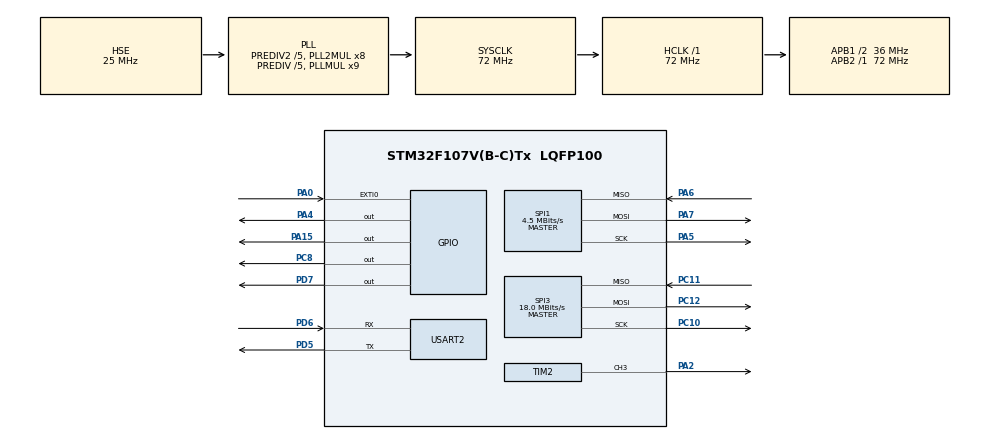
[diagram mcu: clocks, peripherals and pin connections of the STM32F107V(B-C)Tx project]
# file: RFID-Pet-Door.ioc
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Mcu.Family=STM32F1
Mcu.Name=STM32F107V(B-C)Tx
Mcu.Package=LQFP100
NVIC.EXTI0_IRQn=true\:2\:0\:true\:false\:true
NVIC.PriorityGroup=NVIC_PRIORITYGROUP_4
NVIC.TIM1_UP_IRQn=true\:1\:0\:true\:false\:true
OSC_IN.Mode=HSE-External-Oscillator
OSC_IN.Signal=RCC_OSC_IN
OSC_OUT.Mode=HSE-External-Oscillator
OSC_OUT.Signal=RCC_OSC_OUT
PA0-WKUP.GPIO_PuPd=GPIO_PULLDOWN
PA0-WKUP.Signal=GPXTI0
PA15.Signal=GPIO_Output
PA2.GPIO_Speed=GPIO_SPEED_FREQ_HIGH
PA2.Signal=S_TIM2_CH3
PA4.Signal=GPIO_Output
PA5.Mode=Full_Duplex_Master
PA5.Signal=SPI1_SCK
PA6.Mode=Full_Duplex_Master
PA6.Signal=SPI1_MISO
PA7.Mode=Full_Duplex_Master
PA7.Signal=SPI1_MOSI
PC10.Mode=Full_Duplex_Master
PC10.Signal=SPI3_SCK
PC11.Mode=Full_Duplex_Master
PC11.Signal=SPI3_MISO
PC12.Mode=Full_Duplex_Master
PC12.Signal=SPI3_MOSI
PC8.Signal=GPIO_Output
PD5.Mode=Asynchronous
PD5.Signal=USART2_TX
PD6.Mode=Asynchronous
PD6.Signal=USART2_RX
PD7.Signal=GPIO_Output
ProjectManager.HeapSize=0x200
ProjectManager.StackSize=0x400
ProjectManager.TargetToolchain=MDK-ARM V5
RCC.AHBFreq_Value=72000000
RCC.APB1CLKDivider=RCC_HCLK_DIV2
RCC.APB1Freq_Value=36000000
RCC.APB1TimFreq_Value=72000000
RCC.APB2Freq_Value=72000000
RCC.APB2TimFreq_Value=72000000
RCC.HCLKFreq_Value=72000000
RCC.HSEDivPLL=RCC_HSE_PREDIV_DIV5
RCC.HSE_VALUE=25000000
RCC.HSIState=RCC_HSI_ON
RCC.PLLMUL=RCC_PLL_MUL9
RCC.PLLSourceVirtual=RCC_PLLSOURCE_HSE
RCC.Prediv1Source=RCC_PREDIV1_SOURCE_PLL2
RCC.Prediv2=RCC_HSE_PREDIV2_DIV5
RCC.SYSCLKFreq_VALUE=72000000
RCC.SYSCLKSource=RCC_SYSCLKSOURCE_PLLCLK
RCC.USBFreq_Value=48000000
SH.S_TIM2_CH3.0=TIM2_CH3,PWM Generation3 CH3
SPI1.BaudRatePrescaler=SPI_BAUDRATEPRESCALER_16
SPI1.CalculateBaudRate=4.5 MBits/s
SPI1.Mode=SPI_MODE_MASTER
SPI3.CalculateBaudRate=18.0 MBits/s
SPI3.Mode=SPI_MODE_MASTER
TIM1.Period=(1000-1)*4
TIM1.Prescaler=(72-1)*250
TIM2.Channel-PWM\ Generation3\ CH3=TIM_CHANNEL_3
TIM2.Period=1000-1
TIM2.Prescaler=(72-1)*20
TIM2.Pulse-PWM\ Generation3\ CH3=(1000-1)/2
VP_SYS_VS_ND.Mode=No_Debug
VP_TIM1_VS_ClockSourceINT.Mode=Internal
VP_TIM2_VS_ClockSourceINT.Mode=Internal
board=RFID-Pet-Door

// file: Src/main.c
/**
  ******************************************************************************
  * File Name          : main.c
  * Description        : Main program body
  ******************************************************************************
  *
  * COPYRIGHT(c) 2018 STMicroelectronics
  *
  * Redistribution and use in source and binary forms, with or without modification,
  * are permitted provided that the following conditions are met:
  *   1. Redistributions of source code must retain the above copyright notice,
  *      this list of conditions and the following disclaimer.
  *   2. Redistributions in binary form must reproduce the above copyright notice,
  *      this list of conditions and the following disclaimer in the documentation
  *      and/or other materials provided with the distribution.
  *   3. Neither the name of STMicroelectronics nor the names of its contributors
  *      may be used to endorse or promote products derived from this software
  *      without specific prior written permission.
  *
  * THIS SOFTWARE IS PROVIDED BY THE COPYRIGHT HOLDERS AND CONTRIBUTORS "AS IS"
  * AND ANY EXPRESS OR IMPLIED WARRANTIES, INCLUDING, BUT NOT LIMITED TO, THE
  * IMPLIED WARRANTIES OF MERCHANTABILITY AND FITNESS FOR A PARTICULAR PURPOSE ARE
  * DISCLAIMED. IN NO EVENT SHALL THE COPYRIGHT HOLDER OR CONTRIBUTORS BE LIABLE
  * FOR ANY DIRECT, INDIRECT, INCIDENTAL, SPECIAL, EXEMPLARY, OR CONSEQUENTIAL
  * DAMAGES (INCLUDING, BUT NOT LIMITED TO, PROCUREMENT OF SUBSTITUTE GOODS OR
  * SERVICES; LOSS OF USE, DATA, OR PROFITS; OR BUSINESS INTERRUPTION) HOWEVER
  * CAUSED AND ON ANY THEORY OF LIABILITY, WHETHER IN CONTRACT, STRICT LIABILITY,
  * OR TORT (INCLUDING NEGLIGENCE OR OTHERWISE) ARISING IN ANY WAY OUT OF THE USE
  * OF THIS SOFTWARE, EVEN IF ADVISED OF THE POSSIBILITY OF SUCH DAMAGE.
  *
  ******************************************************************************
  */
#include "main.h"
#include "stm32f1xx_hal.h"

/* USER CODE BEGIN Includes */
#include "rc522.h"
#include "et_stm32f_arm_kit_lcd.h"
#include <string.h>
/* USER CODE END Includes */

SPI_HandleTypeDef hspi1;
SPI_HandleTypeDef hspi3;

TIM_HandleTypeDef htim1;
TIM_HandleTypeDef htim2;

UART_HandleTypeDef huart2;

/* USER CODE BEGIN PV */
/* Private variables ---------------------------------------------------------*/
#define White 0xFFFF
#define Black 0x0000
#define Grey 0xF7DE
#define Blue 0x001F
#define Blue2 0x051F
#define Red 0xF800
#define Magenta 0xF81F
#define Green 0x07E0
#define Cyan 0x7FFF
#define Yellow 0xFFE0

uint8_t 	k;
uint8_t 	i;
uint8_t 	j;
uint8_t 	b;
uint8_t 	q;
uint8_t 	en;
uint8_t 	ok;
uint8_t 	comand;
uint8_t		text1[63] = "STM32F103 Mifare RC522 RFID Card reader 13.56 MHz for KEIL HAL\r";
uint8_t		text2[9] = "Card ID: ";
uint8_t		end[1] = "\r";
uint8_t		txBuffer[18] = "Card ID: 00000000\r";
uint8_t 	retstr[10];
uint8_t 	rxBuffer[8];
uint8_t		lastID[MFRC522_MAX_LEN];
uint8_t		memID[MFRC522_MAX_LEN] = "9C55A1B5";
uint8_t		str[MFRC522_MAX_LEN];																						// MFRC522_MAX_LEN = 16
uint8_t		accountID[2][MFRC522_MAX_LEN] = {{0xB,0xC,0xE,0xB,0x4,0xA,0x9},{0xE,0x6,0xA,0x1,0x0,0x5,0x9,0x4}};
//uint8_t		accountID[10][MFRC522_MAX_LEN] = {"E6A10594","B7CEB4A9"};
uint8_t 	numberAccount = 0;
uint8_t isRepeatID = 0;
uint8_t isOpening = 0;

uint32_t time_counter = 0;
uint32_t last_open = 0;
uint8_t status_dog = 0;
/* USER CODE END PV */

void SystemClock_Config(void);
void Error_Handler(void);
static void MX_GPIO_Init(void);
static void MX_USART2_UART_Init(void);
static void MX_TIM2_Init(void);
static void MX_SPI1_Init(void);
static void MX_SPI3_Init(void);
static void MX_TIM1_Init(void);

void HAL_TIM_MspPostInit(TIM_HandleTypeDef *htim);

/* USER CODE BEGIN PFP */
/* Private function prototypes -----------------------------------------------*/

// RC522
uint8_t MFRC522_Check(uint8_t* id);
uint8_t MFRC522_Compare(uint8_t* CardID, uint8_t* CompareID);
void MFRC522_WriteRegister(uint8_t addr, uint8_t val);
uint8_t MFRC522_ReadRegister(uint8_t addr);
void MFRC522_SetBitMask(uint8_t reg, uint8_t mask);
void MFRC522_ClearBitMask(uint8_t reg, uint8_t mask);
uint8_t MFRC522_Request(uint8_t reqMode, uint8_t* TagType);
uint8_t MFRC522_ToCard(uint8_t command, uint8_t* sendData, uint8_t sendLen, uint8_t* backData, uint16_t* backLen);
uint8_t MFRC522_Anticoll(uint8_t* serNum);
void MFRC522_CalulateCRC(uint8_t* pIndata, uint8_t len, uint8_t* pOutData);
uint8_t MFRC522_SelectTag(uint8_t* serNum);
uint8_t MFRC522_Auth(uint8_t authMode, uint8_t BlockAddr, uint8_t* Sectorkey, uint8_t* serNum);
uint8_t MFRC522_Read(uint8_t blockAddr, uint8_t* recvData);
uint8_t MFRC522_Write(uint8_t blockAddr, uint8_t* writeData);
void MFRC522_Init(void);
void MFRC522_Reset(void);
void MFRC522_AntennaOn(void);
void MFRC522_AntennaOff(void);
void MFRC522_Halt(void);
/* USER CODE END PFP */

/* USER CODE BEGIN 0 */

// string hex to char number
uint8_t hex_to_char(uint8_t data) {
	uint8_t number;

	if (rxBuffer[data] < 58) number = (rxBuffer[data]-48)*16; else number = (rxBuffer[data]-55)*16;
	data++;
	if (rxBuffer[data] < 58) number = number+(rxBuffer[data]-48); else number = number+(rxBuffer[data]-55);
	return number;
}

// char number to string hex (FF) (Only big letters!)
void char_to_hex(uint8_t data) {
	uint8_t digits[] = {'0','1','2','3','4','5','6','7','8','9','A','B','C','D','E','F'};

	if (data < 16) {
		retstr[0] = '0';
		retstr[1] = digits[data];
	} else {
		retstr[0] = digits[(data & 0xF0)>>4];
		retstr[1] = digits[(data & 0x0F)];
	}
}

// Number to string (16 bit)
void StrTo() {
	uint32_t	number;
	uint32_t 	ret;

	number = 0;
	ret = 0;
	ret = retstr[0]-0x30;
	number = ret*1000000;
	ret = retstr[1]-0x30;
	number = number+ret*100000;
	ret = retstr[2]-0x30;
	number = number+ret*10000;
	ret = retstr[3]-0x30;
	number = number+ret*1000;
	ret = retstr[4]-0x30;
	number = number+ret*100;
	ret = retstr[5]-0x30;
	number = number+ret*10;
	ret = retstr[6]-0x30;
	number = number+ret;
}

// String to number (32 bit)
void ToStr(uint32_t number) {
	uint32_t i;

	i = number/1000000000;
	number = number-i*1000000000;
	retstr[0] = i+0x30;

	i=number/100000000;
	number=number-i*100000000;
	retstr[1] = i+0x30;

	i = number/10000000;
	number = number-i*10000000;
	retstr[2] = i+0x30;

	i = number/1000000;
	number = number-i*1000000;
	retstr[3] = i+0x30;

	i = number/100000;
	number = number-i*100000;
	retstr[4] = i+0x30;

	i = number/10000;
	number = number-i*10000;
	retstr[5] = i+0x30;

	i = number/1000;
	number = number-i*1000;
	retstr[6] = i+0x30;

	i = number/100;
	number = number-i*100;
	retstr[7] = i+0x30;

	i = number/10;
	number = number-i*10;
	retstr[8] = i+0x30;

	retstr[9] = number+0x30;
}

void led(uint8_t n) {
	for (uint8_t i=0; i<n; i++) {
		HAL_GPIO_WritePin(GPIOC, GPIO_PIN_13, GPIO_PIN_RESET);			          // LED1 ON
		HAL_Delay(100);
		HAL_GPIO_WritePin(GPIOC, GPIO_PIN_13, GPIO_PIN_SET);				          // LED1 OFF
		HAL_Delay(100);
	}
}

uint8_t checkRepeatID(){
	int isRepeat = 1;
	for (i=0; i<MFRC522_MAX_LEN; i++) if (lastID[i] != str[i]) isRepeat = 0;								// Repeat test
	return isRepeat;
}

void saveLastID(){
	for(i=0;i<MFRC522_MAX_LEN;i++){
		lastID[i]=str[i];
	}
}

//turn on buzzer
void alertOn(){
	HAL_GPIO_WritePin(GPIOA, GPIO_PIN_15, GPIO_PIN_RESET);
	HAL_Delay(300);
	HAL_GPIO_WritePin(GPIOA, GPIO_PIN_15, GPIO_PIN_SET);
}

void openDoor(){
	last_open = time_counter;
	status_dog = !status_dog;

	alertOn();			//alert user once
	float closeDoorDutyCycle = 1.95/20;		//duty cycle for servo
	float openDoorDutyCycle = 1.0/20;

	htim2.Instance->CCR3 = (1000-1)*openDoorDutyCycle;	//setting open door duty cylce
	HAL_TIM_PWM_Start(&htim2,TIM_CHANNEL_3);						//start generate pwm
	HAL_Delay(5000);																		//delay opening
	htim2.Instance->CCR3 = (1000-1)*closeDoorDutyCycle;	//setting close door duty cycle

	//
}

void displayLastOpen(){
	char time_str[32];
	sprintf(time_str,"%02d:%02d:%02d",(time_counter - last_open)/3600,(time_counter - last_open)/60,(time_counter - last_open)%60);
	LCD_DisplayStringLine(Line3,"Last opening at ");
	LCD_DisplayStringLine(Line4,time_str);
	char status_text[16];

	if(status_dog)
	{
		LCD_DisplayStringLine(Line1,"Doggy is here!");}
	else{
		LCD_DisplayStringLine(Line1,"Where is doggy");}
}
void addDog(){
	for(i = 0;i<3;i++){
		alertOn();
	}

	for(i=0;i<MFRC522_MAX_LEN;i++){
		accountID[numberAccount][i] = str[i];
	}
	numberAccount++;
}
uint8_t authenicate(){
	uint8_t isPass = 1;
	for(i = 0;i<2;i++){
		isPass = 1;
		for(j = 0; j < MFRC522_MAX_LEN ; j++ ){
			if(accountID[i][j] != str[j] )
				isPass = 0;
		}
		if(isPass == 1){
			//return isPass;
		}
	}
	isPass = 1;
	for(j = 0; j < MFRC522_MAX_LEN ; j++ ){
			if(accountID[0][j] != str[j] )
				isPass = 0;
		}
	return 1;
}
/* USER CODE END 0 */

int main(void)
{

  /* MCU Configuration----------------------------------------------------------*/

  /* Reset of all peripherals, Initializes the Flash interface and the Systick. */
  HAL_Init();

  /* Configure the system clock */
  SystemClock_Config();

  /* Initialize all configured peripherals */
  MX_GPIO_Init();
  MX_USART2_UART_Init();
  MX_TIM2_Init();
  MX_SPI1_Init();
  MX_SPI3_Init();
  MX_TIM1_Init();

  /* USER CODE BEGIN 2 */

	MFRC522_Init();
	LCD_Setup();
	HAL_TIM_Base_Start_IT(&htim1);		//initilize open door timer

	HAL_UART_Transmit(&huart2, text1, 63, 100);
	HAL_UART_Receive_IT(&huart2,(uint8_t*)rxBuffer, 1);
	openDoor();
	//LCD_Clear(White);
	LCD_SetBackColor(Black);
	LCD_SetTextColor(White);

	char time_string[16];
  /* USER CODE END 2 */

  /* Infinite loop */
  while (1)
  {

  /* USER CODE BEGIN 3 */
		MFRC522_Init();					//initilize rfid reader
		if (!MFRC522_Request(PICC_REQIDL, str)) {			//sending reading rfid tag request to rfid tag
			if (!MFRC522_Anticoll(str)) {								//check collision between signal

				isRepeatID = checkRepeatID();							//check last rfid tag

				//if(!isRepeatID)
			//	{HAL_UART_Transmit(&huart2,str,MFRC522_MAX_LEN,100);openDoor();}

				openDoor();																//open door

				saveLastID();															//save id

			}
		HAL_UART_Transmit(&huart2,str,MFRC522_MAX_LEN,100);			//logging uid of tag
		}
		sprintf(time_string,"\r\n%d",time_counter);
		HAL_UART_Transmit(&huart2,(uint8_t*)time_string,strlen(time_string),100);

		HAL_Delay(10);
  }
  /* USER CODE END 3 */

}

/** System Clock Configuration
*/
void SystemClock_Config(void)
{

  RCC_OscInitTypeDef RCC_OscInitStruct;
  RCC_ClkInitTypeDef RCC_ClkInitStruct;

    /**Initializes the CPU, AHB and APB busses clocks
    */
  RCC_OscInitStruct.OscillatorType = RCC_OSCILLATORTYPE_HSE;
  RCC_OscInitStruct.HSEState = RCC_HSE_ON;
  RCC_OscInitStruct.HSEPredivValue = RCC_HSE_PREDIV_DIV5;
  RCC_OscInitStruct.HSIState = RCC_HSI_ON;
  RCC_OscInitStruct.Prediv1Source = RCC_PREDIV1_SOURCE_PLL2;
  RCC_OscInitStruct.PLL.PLLState = RCC_PLL_ON;
  RCC_OscInitStruct.PLL.PLLSource = RCC_PLLSOURCE_HSE;
  RCC_OscInitStruct.PLL.PLLMUL = RCC_PLL_MUL9;
  RCC_OscInitStruct.PLL2.PLL2State = RCC_PLL2_ON;
  RCC_OscInitStruct.PLL2.PLL2MUL = RCC_PLL2_MUL8;
  RCC_OscInitStruct.PLL2.HSEPrediv2Value = RCC_HSE_PREDIV2_DIV5;
  if (HAL_RCC_OscConfig(&RCC_OscInitStruct) != HAL_OK)
  {
    Error_Handler();
  }

    /**Initializes the CPU, AHB and APB busses clocks
    */
  RCC_ClkInitStruct.ClockType = RCC_CLOCKTYPE_HCLK|RCC_CLOCKTYPE_SYSCLK
                              |RCC_CLOCKTYPE_PCLK1|RCC_CLOCKTYPE_PCLK2;
  RCC_ClkInitStruct.SYSCLKSource = RCC_SYSCLKSOURCE_PLLCLK;
  RCC_ClkInitStruct.AHBCLKDivider = RCC_SYSCLK_DIV1;
  RCC_ClkInitStruct.APB1CLKDivider = RCC_HCLK_DIV2;
  RCC_ClkInitStruct.APB2CLKDivider = RCC_HCLK_DIV1;

  if (HAL_RCC_ClockConfig(&RCC_ClkInitStruct, FLASH_LATENCY_2) != HAL_OK)
  {
    Error_Handler();
  }

    /**Configure the Systick interrupt time
    */
  HAL_SYSTICK_Config(HAL_RCC_GetHCLKFreq()/1000);

    /**Configure the Systick
    */
  HAL_SYSTICK_CLKSourceConfig(SYSTICK_CLKSOURCE_HCLK);

    /**Configure the Systick interrupt time
    */
  __HAL_RCC_PLLI2S_ENABLE();

  /* SysTick_IRQn interrupt configuration */
  HAL_NVIC_SetPriority(SysTick_IRQn, 0, 0);
}

/* SPI1 init function */
static void MX_SPI1_Init(void)
{

  hspi1.Instance = SPI1;
  hspi1.Init.Mode = SPI_MODE_MASTER;
  hspi1.Init.Direction = SPI_DIRECTION_2LINES;
  hspi1.Init.DataSize = SPI_DATASIZE_8BIT;
  hspi1.Init.CLKPolarity = SPI_POLARITY_LOW;
  hspi1.Init.CLKPhase = SPI_PHASE_1EDGE;
  hspi1.Init.NSS = SPI_NSS_SOFT;
  hspi1.Init.BaudRatePrescaler = SPI_BAUDRATEPRESCALER_16;
  hspi1.Init.FirstBit = SPI_FIRSTBIT_MSB;
  hspi1.Init.TIMode = SPI_TIMODE_DISABLE;
  hspi1.Init.CRCCalculation = SPI_CRCCALCULATION_DISABLE;
  hspi1.Init.CRCPolynomial = 10;
  if (HAL_SPI_Init(&hspi1) != HAL_OK)
  {
    Error_Handler();
  }

}

/* SPI3 init function */
static void MX_SPI3_Init(void)
{

  hspi3.Instance = SPI3;
  hspi3.Init.Mode = SPI_MODE_MASTER;
  hspi3.Init.Direction = SPI_DIRECTION_2LINES;
  hspi3.Init.DataSize = SPI_DATASIZE_8BIT;
  hspi3.Init.CLKPolarity = SPI_POLARITY_LOW;
  hspi3.Init.CLKPhase = SPI_PHASE_1EDGE;
  hspi3.Init.NSS = SPI_NSS_SOFT;
  hspi3.Init.BaudRatePrescaler = SPI_BAUDRATEPRESCALER_2;
  hspi3.Init.FirstBit = SPI_FIRSTBIT_MSB;
  hspi3.Init.TIMode = SPI_TIMODE_DISABLE;
  hspi3.Init.CRCCalculation = SPI_CRCCALCULATION_DISABLE;
  hspi3.Init.CRCPolynomial = 10;
  if (HAL_SPI_Init(&hspi3) != HAL_OK)
  {
    Error_Handler();
  }

}

/* TIM1 init function */
static void MX_TIM1_Init(void)
{

  TIM_ClockConfigTypeDef sClockSourceConfig;
  TIM_MasterConfigTypeDef sMasterConfig;

  htim1.Instance = TIM1;
  htim1.Init.Prescaler = (72-1)*250;
  htim1.Init.CounterMode = TIM_COUNTERMODE_UP;
  htim1.Init.Period = (1000-1)*4;
  htim1.Init.ClockDivision = TIM_CLOCKDIVISION_DIV1;
  htim1.Init.RepetitionCounter = 0;
  if (HAL_TIM_Base_Init(&htim1) != HAL_OK)
  {
    Error_Handler();
  }

  sClockSourceConfig.ClockSource = TIM_CLOCKSOURCE_INTERNAL;
  if (HAL_TIM_ConfigClockSource(&htim1, &sClockSourceConfig) != HAL_OK)
  {
    Error_Handler();
  }

  sMasterConfig.MasterOutputTrigger = TIM_TRGO_RESET;
  sMasterConfig.MasterSlaveMode = TIM_MASTERSLAVEMODE_DISABLE;
  if (HAL_TIMEx_MasterConfigSynchronization(&htim1, &sMasterConfig) != HAL_OK)
  {
    Error_Handler();
  }

}

/* TIM2 init function */
static void MX_TIM2_Init(void)
{

  TIM_ClockConfigTypeDef sClockSourceConfig;
  TIM_MasterConfigTypeDef sMasterConfig;
  TIM_OC_InitTypeDef sConfigOC;

  htim2.Instance = TIM2;
  htim2.Init.Prescaler = (72-1)*20;
  htim2.Init.CounterMode = TIM_COUNTERMODE_UP;
  htim2.Init.Period = 1000-1;
  htim2.Init.ClockDivision = TIM_CLOCKDIVISION_DIV1;
  if (HAL_TIM_Base_Init(&htim2) != HAL_OK)
  {
    Error_Handler();
  }

  sClockSourceConfig.ClockSource = TIM_CLOCKSOURCE_INTERNAL;
  if (HAL_TIM_ConfigClockSource(&htim2, &sClockSourceConfig) != HAL_OK)
  {
    Error_Handler();
  }

  if (HAL_TIM_PWM_Init(&htim2) != HAL_OK)
  {
    Error_Handler();
  }

  sMasterConfig.MasterOutputTrigger = TIM_TRGO_RESET;
  sMasterConfig.MasterSlaveMode = TIM_MASTERSLAVEMODE_DISABLE;
  if (HAL_TIMEx_MasterConfigSynchronization(&htim2, &sMasterConfig) != HAL_OK)
  {
    Error_Handler();
  }

  sConfigOC.OCMode = TIM_OCMODE_PWM1;
  sConfigOC.Pulse = (1000-1)/2;
  sConfigOC.OCPolarity = TIM_OCPOLARITY_HIGH;
  sConfigOC.OCFastMode = TIM_OCFAST_DISABLE;
  if (HAL_TIM_PWM_ConfigChannel(&htim2, &sConfigOC, TIM_CHANNEL_3) != HAL_OK)
  {
    Error_Handler();
  }

  HAL_TIM_MspPostInit(&htim2);

}

/* USART2 init function */
static void MX_USART2_UART_Init(void)
{

  huart2.Instance = USART2;
  huart2.Init.BaudRate = 115200;
  huart2.Init.WordLength = UART_WORDLENGTH_8B;
  huart2.Init.StopBits = UART_STOPBITS_1;
  huart2.Init.Parity = UART_PARITY_NONE;
  huart2.Init.Mode = UART_MODE_TX_RX;
  huart2.Init.HwFlowCtl = UART_HWCONTROL_NONE;
  huart2.Init.OverSampling = UART_OVERSAMPLING_16;
  if (HAL_UART_Init(&huart2) != HAL_OK)
  {
    Error_Handler();
  }

}

/** Configure pins as
        * Analog
        * Input
        * Output
        * EVENT_OUT
        * EXTI
*/
static void MX_GPIO_Init(void)
{

  GPIO_InitTypeDef GPIO_InitStruct;

  /* GPIO Ports Clock Enable */
  __HAL_RCC_GPIOA_CLK_ENABLE();
  __HAL_RCC_GPIOC_CLK_ENABLE();
  __HAL_RCC_GPIOD_CLK_ENABLE();

  /*Configure GPIO pin : PA0 */
  GPIO_InitStruct.Pin = GPIO_PIN_0;
  GPIO_InitStruct.Mode = GPIO_MODE_IT_RISING;
  GPIO_InitStruct.Pull = GPIO_PULLDOWN;
  HAL_GPIO_Init(GPIOA, &GPIO_InitStruct);

  /*Configure GPIO pins : PA4 PA15 */
  GPIO_InitStruct.Pin = GPIO_PIN_4|GPIO_PIN_15;
  GPIO_InitStruct.Mode = GPIO_MODE_OUTPUT_PP;
  GPIO_InitStruct.Speed = GPIO_SPEED_FREQ_LOW;
  HAL_GPIO_Init(GPIOA, &GPIO_InitStruct);

  /*Configure GPIO pin : PC8 */
  GPIO_InitStruct.Pin = GPIO_PIN_8;
  GPIO_InitStruct.Mode = GPIO_MODE_OUTPUT_PP;
  GPIO_InitStruct.Speed = GPIO_SPEED_FREQ_LOW;
  HAL_GPIO_Init(GPIOC, &GPIO_InitStruct);

  /*Configure GPIO pin : PD7 */
  GPIO_InitStruct.Pin = GPIO_PIN_7;
  GPIO_InitStruct.Mode = GPIO_MODE_OUTPUT_PP;
  GPIO_InitStruct.Speed = GPIO_SPEED_FREQ_LOW;
  HAL_GPIO_Init(GPIOD, &GPIO_InitStruct);

  /*Configure GPIO pin Output Level */
  HAL_GPIO_WritePin(GPIOA, GPIO_PIN_4|GPIO_PIN_15, GPIO_PIN_RESET);

  /*Configure GPIO pin Output Level */
  HAL_GPIO_WritePin(GPIOC, GPIO_PIN_8, GPIO_PIN_RESET);

  /*Configure GPIO pin Output Level */
  HAL_GPIO_WritePin(GPIOD, GPIO_PIN_7, GPIO_PIN_RESET);

  /* EXTI interrupt init*/
  HAL_NVIC_SetPriority(EXTI0_IRQn, 2, 0);
  HAL_NVIC_EnableIRQ(EXTI0_IRQn);

}

void Error_Handler(void)
{
  while(1)
  {
  }
}

/************************ (C) COPYRIGHT STMicroelectronics *****END OF FILE****/
